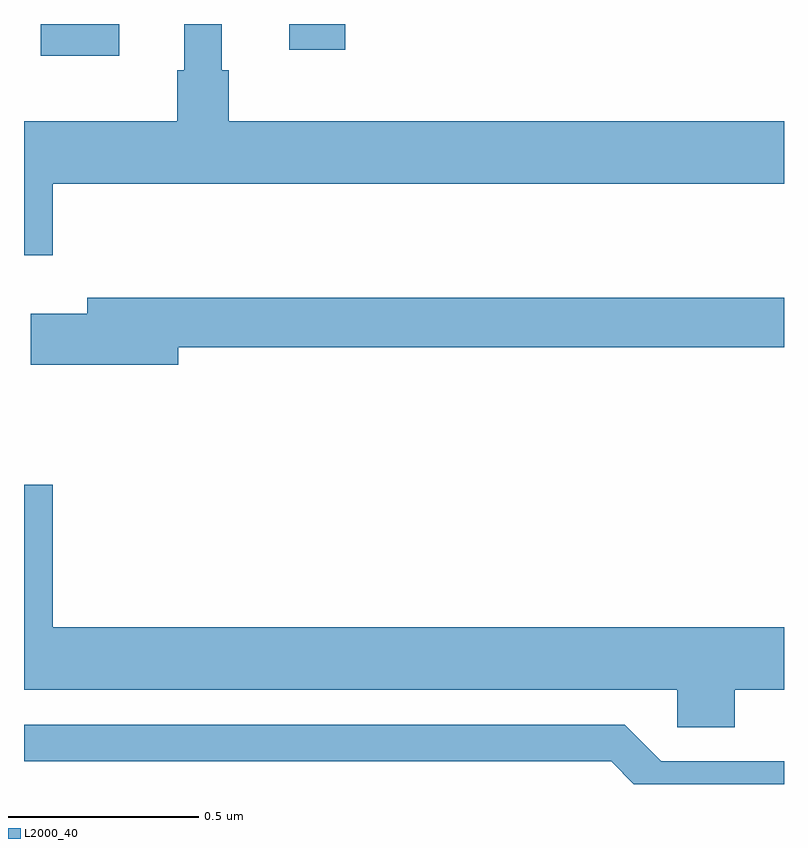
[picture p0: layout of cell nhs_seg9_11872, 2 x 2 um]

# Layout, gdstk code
import gdstk
lib = gdstk.Library(unit=1e-6, precision=1e-09)
def R(c, l, rs):  # rectangles x0, y0, x1, y1
    for r in rs: c.add(gdstk.rectangle(r[:2], r[2:], *l))
def P(c, l, *ps):  # polygons
    for p in ps: c.add(gdstk.Polygon(p, *l))
L2000_40 = (2000, 40)

nhs_seg9_11872 = lib.new_cell('nhs_seg9_11872')
R(nhs_seg9_11872, L2000_40, [(261.044,1203.416,261.25,1203.5), (261.698,1203.432,261.845,1203.5)])
P(nhs_seg9_11872, L2000_40, [(261.076,1203.08),(263,1203.08),(263,1203.244),(261.539,1203.244),(261.539,1203.378),(261.52,1203.378),(261.52,1203.5),(261.422,1203.5),(261.422,1203.378),(261.403,1203.378),(261.403,1203.244),(261,1203.244),(261,1202.892),(261.076,1202.892)],
  [(261.406,1202.65),(263,1202.65),(263,1202.779),(261.167,1202.779),(261.167,1202.737),(261.018,1202.737),(261.018,1202.603),(261.406,1202.603)],
  [(262.871,1201.748),(263,1201.748),(263,1201.912),(261.076,1201.912),(261.076,1202.287),(261,1202.287),(261,1201.748),(262.719,1201.748),(262.719,1201.65),(262.871,1201.65)],
  [(263,1201.56),(262.677,1201.56),(262.581,1201.656),(261,1201.656),(261,1201.56),(262.545,1201.56),(262.605,1201.5),(263,1201.5)])

lib.write_gds('nhs_seg9_11872.gds')
